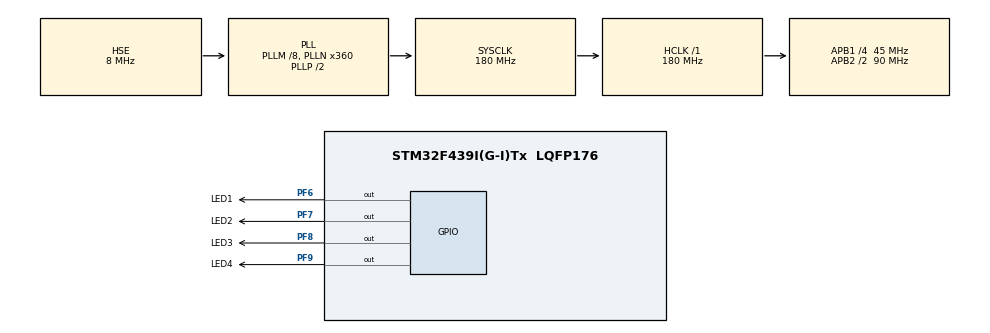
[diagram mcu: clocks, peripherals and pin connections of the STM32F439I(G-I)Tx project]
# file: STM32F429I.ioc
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FREERTOS.INCLUDE_vTaskDelayUntil=1
FREERTOS.Queues01=osqueue,1,uint16_t,NULL
FREERTOS.Tasks01=QCons,0,128,MessageQueueConsumer;QProd,-1,128,MessageQueueProducer
Mcu.Family=STM32F4
Mcu.Name=STM32F439I(G-I)Tx
Mcu.Package=LQFP176
NVIC.PriorityGroup=NVIC_PRIORITYGROUP_4
PF6.GPIO_Label=LED1
PF6.GPIO_ModeDefaultOutputPP=GPIO_MODE_OUTPUT_PP
PF6.GPIO_PuPd=GPIO_NOPULL
PF6.GPIO_Speed=GPIO_SPEED_LOW
PF6.Signal=GPIO_Output
PF7.GPIO_Label=LED2
PF7.GPIO_ModeDefaultOutputPP=GPIO_MODE_OUTPUT_PP
PF7.GPIO_PuPd=GPIO_NOPULL
PF7.GPIO_Speed=GPIO_SPEED_LOW
PF7.Signal=GPIO_Output
PF8.GPIO_Label=LED3
PF8.GPIO_ModeDefaultOutputPP=GPIO_MODE_OUTPUT_PP
PF8.GPIO_PuPd=GPIO_NOPULL
PF8.GPIO_Speed=GPIO_SPEED_LOW
PF8.Signal=GPIO_Output
PF9.GPIO_Label=LED4
PF9.GPIO_ModeDefaultOutputPP=GPIO_MODE_OUTPUT_PP
PF9.GPIO_PuPd=GPIO_NOPULL
PF9.GPIO_Speed=GPIO_SPEED_LOW
PF9.Signal=GPIO_Output
PH0/OSC_IN.Mode=HSE-External-Oscillator
PH0/OSC_IN.Signal=RCC_OSC_IN
PH1/OSC_OUT.Mode=HSE-External-Oscillator
PH1/OSC_OUT.Signal=RCC_OSC_OUT
ProjectManager.TargetToolchain=MDK-ARM V5
RCC.48MHZClocksFreq_Value=90000000
RCC.AHBFreq_Value=180000000
RCC.APB1CLKDivider=RCC_HCLK_DIV4
RCC.APB1Freq_Value=45000000
RCC.APB1TimFreq_Value=90000000
RCC.APB2CLKDivider=RCC_HCLK_DIV2
RCC.APB2Freq_Value=90000000
RCC.APB2TimFreq_Value=180000000
RCC.CortexFreq_Value=180000000
RCC.HCLKFreq_Value=180000000
RCC.HSE_VALUE=8000000
RCC.HSI_VALUE=16000000
RCC.LSE_VALUE=32768
RCC.PLLM=8
RCC.PLLN=360
RCC.PLLSourceVirtual=RCC_PLLSOURCE_HSE
RCC.SYSCLKFreq_VALUE=180000000
RCC.SYSCLKSource=RCC_SYSCLKSOURCE_PLLCLK
RCC.VCOOutputFreq_Value=360000000
VP_FREERTOS_VS_ENABLE.Mode=Enabled
board=STM32F429I

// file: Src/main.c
/**
  ******************************************************************************
  * File Name          : main.c
  * Description        : Main program body
  ******************************************************************************
  *
  * COPYRIGHT(c) 2016 STMicroelectronics
  *
  * Redistribution and use in source and binary forms, with or without modification,
  * are permitted provided that the following conditions are met:
  *   1. Redistributions of source code must retain the above copyright notice,
  *      this list of conditions and the following disclaimer.
  *   2. Redistributions in binary form must reproduce the above copyright notice,
  *      this list of conditions and the following disclaimer in the documentation
  *      and/or other materials provided with the distribution.
  *   3. Neither the name of STMicroelectronics nor the names of its contributors
  *      may be used to endorse or promote products derived from this software
  *      without specific prior written permission.
  *
  * THIS SOFTWARE IS PROVIDED BY THE COPYRIGHT HOLDERS AND CONTRIBUTORS "AS IS"
  * AND ANY EXPRESS OR IMPLIED WARRANTIES, INCLUDING, BUT NOT LIMITED TO, THE
  * IMPLIED WARRANTIES OF MERCHANTABILITY AND FITNESS FOR A PARTICULAR PURPOSE ARE
  * DISCLAIMED. IN NO EVENT SHALL THE COPYRIGHT HOLDER OR CONTRIBUTORS BE LIABLE
  * FOR ANY DIRECT, INDIRECT, INCIDENTAL, SPECIAL, EXEMPLARY, OR CONSEQUENTIAL
  * DAMAGES (INCLUDING, BUT NOT LIMITED TO, PROCUREMENT OF SUBSTITUTE GOODS OR
  * SERVICES; LOSS OF USE, DATA, OR PROFITS; OR BUSINESS INTERRUPTION) HOWEVER
  * CAUSED AND ON ANY THEORY OF LIABILITY, WHETHER IN CONTRACT, STRICT LIABILITY,
  * OR TORT (INCLUDING NEGLIGENCE OR OTHERWISE) ARISING IN ANY WAY OUT OF THE USE
  * OF THIS SOFTWARE, EVEN IF ADVISED OF THE POSSIBILITY OF SUCH DAMAGE.
  *
  ******************************************************************************
  */
#include "stm32f4xx_hal.h"
#include "cmsis_os.h"
#include "gpio.h"

/* USER CODE BEGIN PV */
/* Private variables ---------------------------------------------------------*/

/* USER CODE END PV */

void SystemClock_Config(void);
void MX_FREERTOS_Init(void);

/* USER CODE BEGIN PFP */
/* Private function prototypes -----------------------------------------------*/

/* USER CODE END PFP */

int main(void)
{

  /* MCU Configuration----------------------------------------------------------*/

  /* Reset of all peripherals, Initializes the Flash interface and the Systick. */
  HAL_Init();

  /* Configure the system clock */
  SystemClock_Config();

  /* Initialize all configured peripherals */
  MX_GPIO_Init();

  /* Call init function for freertos objects (in freertos.c) */
  MX_FREERTOS_Init();

  /* Start scheduler */
  osKernelStart();

  /* We should never get here as control is now taken by the scheduler */

  /* Infinite loop */
  while (1)
  {

  }

}

/** System Clock Configuration
*/
void SystemClock_Config(void)
{

  RCC_OscInitTypeDef RCC_OscInitStruct;
  RCC_ClkInitTypeDef RCC_ClkInitStruct;

  __PWR_CLK_ENABLE();

  __HAL_PWR_VOLTAGESCALING_CONFIG(PWR_REGULATOR_VOLTAGE_SCALE1);

  RCC_OscInitStruct.OscillatorType = RCC_OSCILLATORTYPE_HSE;
  RCC_OscInitStruct.HSEState = RCC_HSE_ON;
  RCC_OscInitStruct.PLL.PLLState = RCC_PLL_ON;
  RCC_OscInitStruct.PLL.PLLSource = RCC_PLLSOURCE_HSE;
  RCC_OscInitStruct.PLL.PLLM = 8;
  RCC_OscInitStruct.PLL.PLLN = 360;
  RCC_OscInitStruct.PLL.PLLP = RCC_PLLP_DIV2;
  RCC_OscInitStruct.PLL.PLLQ = 4;
  HAL_RCC_OscConfig(&RCC_OscInitStruct);

  HAL_PWREx_ActivateOverDrive();

  RCC_ClkInitStruct.ClockType = RCC_CLOCKTYPE_SYSCLK|RCC_CLOCKTYPE_PCLK1
                              |RCC_CLOCKTYPE_PCLK2;
  RCC_ClkInitStruct.SYSCLKSource = RCC_SYSCLKSOURCE_PLLCLK;
  RCC_ClkInitStruct.AHBCLKDivider = RCC_SYSCLK_DIV1;
  RCC_ClkInitStruct.APB1CLKDivider = RCC_HCLK_DIV4;
  RCC_ClkInitStruct.APB2CLKDivider = RCC_HCLK_DIV2;
  HAL_RCC_ClockConfig(&RCC_ClkInitStruct, FLASH_LATENCY_5);

  HAL_SYSTICK_Config(HAL_RCC_GetHCLKFreq()/1000);

  HAL_SYSTICK_CLKSourceConfig(SYSTICK_CLKSOURCE_HCLK);

  /* SysTick_IRQn interrupt configuration */
  HAL_NVIC_SetPriority(SysTick_IRQn, 0, 0);
}

/************************ (C) COPYRIGHT STMicroelectronics *****END OF FILE****/

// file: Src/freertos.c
/**
  ******************************************************************************
  * File Name          : freertos.c
  * Description        : Code for freertos applications
  ******************************************************************************
  *
  * COPYRIGHT(c) 2016 STMicroelectronics
  *
  * Redistribution and use in source and binary forms, with or without modification,
  * are permitted provided that the following conditions are met:
  *   1. Redistributions of source code must retain the above copyright notice,
  *      this list of conditions and the following disclaimer.
  *   2. Redistributions in binary form must reproduce the above copyright notice,
  *      this list of conditions and the following disclaimer in the documentation
  *      and/or other materials provided with the distribution.
  *   3. Neither the name of STMicroelectronics nor the names of its contributors
  *      may be used to endorse or promote products derived from this software
  *      without specific prior written permission.
  *
  * THIS SOFTWARE IS PROVIDED BY THE COPYRIGHT HOLDERS AND CONTRIBUTORS "AS IS"
  * AND ANY EXPRESS OR IMPLIED WARRANTIES, INCLUDING, BUT NOT LIMITED TO, THE
  * IMPLIED WARRANTIES OF MERCHANTABILITY AND FITNESS FOR A PARTICULAR PURPOSE ARE
  * DISCLAIMED. IN NO EVENT SHALL THE COPYRIGHT HOLDER OR CONTRIBUTORS BE LIABLE
  * FOR ANY DIRECT, INDIRECT, INCIDENTAL, SPECIAL, EXEMPLARY, OR CONSEQUENTIAL
  * DAMAGES (INCLUDING, BUT NOT LIMITED TO, PROCUREMENT OF SUBSTITUTE GOODS OR
  * SERVICES; LOSS OF USE, DATA, OR PROFITS; OR BUSINESS INTERRUPTION) HOWEVER
  * CAUSED AND ON ANY THEORY OF LIABILITY, WHETHER IN CONTRACT, STRICT LIABILITY,
  * OR TORT (INCLUDING NEGLIGENCE OR OTHERWISE) ARISING IN ANY WAY OUT OF THE USE
  * OF THIS SOFTWARE, EVEN IF ADVISED OF THE POSSIBILITY OF SUCH DAMAGE.
  *
  ******************************************************************************
  */

#include "FreeRTOS.h"
#include "task.h"
#include "cmsis_os.h"

/* USER CODE BEGIN Includes */
#include "gpio.h"
/* USER CODE END Includes */

osThreadId QConsHandle;
osThreadId QProdHandle;
osMessageQId osqueueHandle;

/* USER CODE BEGIN Variables */
uint32_t ProducerValue = 0, ConsumerValue = 0;
/* USER CODE END Variables */

void MessageQueueConsumer(void const * argument);
void MessageQueueProducer(void const * argument);

void MX_FREERTOS_Init(void); /* (MISRA C 2004 rule 8.1) */

/* Hook prototypes */

/* Init FreeRTOS */

void MX_FREERTOS_Init(void) {

  /* Create the thread(s) */
  /* definition and creation of QCons */
  osThreadDef(QCons, MessageQueueConsumer, osPriorityNormal, 0, 128);
  QConsHandle = osThreadCreate(osThread(QCons), NULL);

  /* definition and creation of QProd */
  osThreadDef(QProd, MessageQueueProducer, osPriorityBelowNormal, 0, 128);
  QProdHandle = osThreadCreate(osThread(QProd), NULL);

  /* Create the queue(s) */
  /* definition and creation of osqueue */
  osMessageQDef(osqueue, 1, uint16_t);
  osqueueHandle = osMessageCreate(osMessageQ(osqueue), NULL);

}

/* MessageQueueConsumer function */
void MessageQueueConsumer(void const * argument)
{

  /* USER CODE BEGIN MessageQueueConsumer */
	osEvent event;
  /* Infinite loop */
  for(;;)
  {
    /* Get the message from the queue */
    event = osMessageGet(osqueueHandle, 100);

    if(event.status == osEventMessage)
    {
      if(event.value.v != ConsumerValue)
      {
        /* Catch-up. */
        ConsumerValue = event.value.v;

        /* Toggle LED3 to indicate error */
        BSP_LED_Toggle(LED3);
      }
      else
      {
        /* Increment the value we expect to remove from the queue next time
        round. */
        ++ConsumerValue;

				/* Toggle LED2 to indicate a correct number received */
				BSP_LED_Toggle(LED2);
      }
    }
  }
  /* USER CODE END MessageQueueConsumer */
}

/* MessageQueueProducer function */
void MessageQueueProducer(void const * argument)
{
  /* USER CODE BEGIN MessageQueueProducer */
  /* Infinite loop */
  for(;;)
  {
    if(osMessagePut(osqueueHandle, ProducerValue, 100) != osOK)
    {
      /* Toggle LED3 to indicate error */
      BSP_LED_Toggle(LED3);
    }
    else
    {
      /* Increment the variable we are going to post next time round.  The
      consumer will expect the numbers to follow in numerical order. */
      ++ProducerValue;

      /* Toggle LED1 to indicate a correct number received */
      BSP_LED_Toggle(LED1);

      osDelay(250);
    }
  }
  /* USER CODE END MessageQueueProducer */
}

/************************ (C) COPYRIGHT STMicroelectronics *****END OF FILE****/
